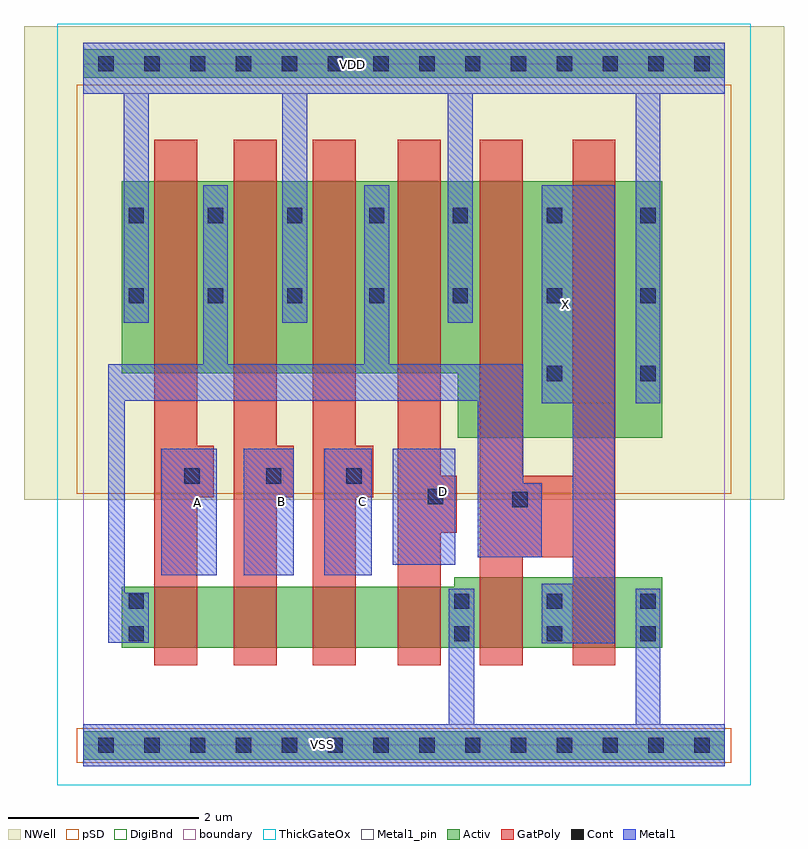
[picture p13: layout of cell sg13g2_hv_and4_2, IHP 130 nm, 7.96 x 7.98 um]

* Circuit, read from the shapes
.subckt sg13g2_hv_and4_2 A B C D VDD VSS X
XM1 n1 A n2 VSS sg13_hv_nmos w=0.64u l=0.45u
XM2 n3 B n1 VSS sg13_hv_nmos w=0.64u l=0.45u
XM3 n4 C n3 VSS sg13_hv_nmos w=0.64u l=0.45u
XM4 VSS D n4 VSS sg13_hv_nmos w=0.64u l=0.45u
XM5 X n2 VSS VSS sg13_hv_nmos w=0.74u l=0.45u m=2
XM6 n2 A VDD VDD sg13_hv_pmos w=2.015u l=0.45u
XM7 VDD B n2 VDD sg13_hv_pmos w=2.015u l=0.45u
XM8 n2 C VDD VDD sg13_hv_pmos w=2.015u l=0.45u
XM9 VDD D n2 VDD sg13_hv_pmos w=2.015u l=0.45u
XM10 X n2 VDD VDD sg13_hv_pmos w=2.69u l=0.45u m=2
.ends

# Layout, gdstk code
import gdstk
lib = gdstk.Library(unit=1e-6, precision=1e-09)
def R(c, l, rs):  # rectangles x0, y0, x1, y1
    for r in rs: c.add(gdstk.rectangle(r[:2], r[2:], *l))
def A(c, l, x, y, w, h, nx, ny, dx, dy):  # array of equal rectangles
    R(c, l, [(x+i*dx, y+j*dy, x+i*dx+w, y+j*dy+h) for i in range(nx) for j in range(ny)])
def P(c, l, *ps):  # polygons
    for p in ps: c.add(gdstk.Polygon(p, *l))
Activ = (1, 0)
GatPoly = (5, 0)
Cont = (6, 0)
Metal1 = (8, 0)
Metal1_pin = (8, 2)
pSD = (14, 0)
DigiBnd = (16, 0)
NWell = (31, 0)
ThickGateOx = (44, 0)
boundary = (189, 4)

sg13g2_hv_and4_2 = lib.new_cell('sg13g2_hv_and4_2')
R(sg13g2_hv_and4_2, Activ, [(0,-0.15,6.72,0.15), (0,6.99,6.72,7.29)])
P(sg13g2_hv_and4_2, Activ, [(0.405,1.02),(0.405,1.66),(3.885,1.66),(3.885,1.76),(6.065,1.76),(6.065,1.02)],
  [(3.925,3.22),(3.925,3.895),(0.405,3.895),(0.405,5.91),(6.065,5.91),(6.065,3.22)])
P(sg13g2_hv_and4_2, GatPoly, [(0.745,0.84),(0.745,6.345),(1.195,6.345),(1.195,3.14),(1.365,3.14),(1.365,2.6),(1.195,2.6),(1.195,0.84)],
  [(1.575,0.84),(1.575,6.345),(2.025,6.345),(2.025,3.14),(2.205,3.14),(2.205,2.6),(2.025,2.6),(2.025,0.84)],
  [(2.405,0.84),(2.405,6.345),(2.855,6.345),(2.855,3.14),(3.04,3.14),(3.04,2.6),(2.855,2.6),(2.855,0.84)],
  [(3.295,0.84),(3.295,6.345),(3.745,6.345),(3.745,2.825),(3.915,2.825),(3.915,2.225),(3.745,2.225),(3.745,0.84)],
  [(4.155,0.84),(4.155,6.345),(4.605,6.345),(4.605,2.825),(5.125,2.825),(5.125,6.345),(5.575,6.345),(5.575,0.84),(5.125,0.84),(5.125,1.97),(4.605,1.97),(4.605,0.84)])
A(sg13g2_hv_and4_2, Cont, 0.16, -0.08, 0.16, 0.16, 14, 2, 0.48, 7.14)
A(sg13g2_hv_and4_2, Cont, 0.475, 4.63, 0.16, 0.16, 3, 2, 0.83, 0.84)
R(sg13g2_hv_and4_2, Cont, [(0.475,1.09,0.635,1.25), (3.885,1.09,4.045,1.25), (4.855,1.09,5.015,1.25), (5.835,1.09,5.995,1.25), (0.475,1.43,0.635,1.59), (3.885,1.43,4.045,1.59), (4.855,1.43,5.015,1.59), (5.835,1.43,5.995,1.59), (4.495,2.495,4.655,2.655), (3.61,2.525,3.77,2.685), (1.06,2.74,1.22,2.9), (1.915,2.74,2.075,2.9), (2.755,2.74,2.915,2.9), (4.855,3.815,5.015,3.975), (5.835,3.815,5.995,3.975), (2.995,4.63,3.155,4.79), (3.87,4.63,4.03,4.79), (4.855,4.63,5.015,4.79), (5.835,4.63,5.995,4.79), (2.995,5.47,3.155,5.63), (3.87,5.47,4.03,5.63), (4.855,5.47,5.015,5.63), (5.835,5.47,5.995,5.63)])
R(sg13g2_hv_and4_2, Metal1, [(0.815,1.78,1.4,3.105), (1.68,1.78,2.205,3.105), (2.525,1.78,3.02,3.105), (3.24,1.89,3.895,3.105)])
P(sg13g2_hv_and4_2, Metal1, [(0,-0.22),(0,0.22),(3.83,0.22),(3.83,1.64),(4.095,1.64),(4.095,0.22),(5.785,0.22),(5.785,1.64),(6.045,1.64),(6.045,0.22),(6.72,0.22),(6.72,-0.22)],
  [(0.265,1.075),(0.265,3.99),(1.255,3.99),(1.255,5.865),(1.515,5.865),(1.515,3.99),(2.945,3.99),(2.945,5.865),(3.205,5.865),(3.205,3.99),(4.61,3.99),(4.61,2.745),(4.805,2.745),(4.805,1.97),(4.13,1.97),(4.13,3.61),(0.435,3.61),(0.435,1.6),(0.685,1.6),(0.685,1.075)],
  [(4.805,1.07),(4.805,1.69),(5.125,1.69),(5.125,3.585),(4.805,3.585),(4.805,5.865),(5.565,5.865),(5.565,1.07)],
  [(5.785,3.585),(5.785,6.825),(4.08,6.825),(4.08,4.425),(3.82,4.425),(3.82,6.825),(2.345,6.825),(2.345,4.425),(2.085,4.425),(2.085,6.825),(0.685,6.825),(0.685,4.425),(0.425,4.425),(0.425,6.825),(0,6.825),(0,7.36),(6.72,7.36),(6.72,6.825),(6.045,6.825),(6.045,3.585)])
R(sg13g2_hv_and4_2, Metal1_pin, [(0,-0.22,6.72,0.22), (0.815,1.78,1.4,3.105), (1.68,1.78,2.205,3.105), (2.525,1.78,3.02,3.105), (3.24,1.89,3.895,3.105), (4.805,3.585,5.565,5.865), (0,6.825,6.72,7.36)])
R(sg13g2_hv_and4_2, pSD, [(-0.07,-0.18,6.79,0.18), (-0.07,2.635,6.79,6.92)])
R(sg13g2_hv_and4_2, DigiBnd, [(0,0,6.72,7.14)])
R(sg13g2_hv_and4_2, NWell, [(-0.62,2.57,7.34,7.53)])
R(sg13g2_hv_and4_2, ThickGateOx, [(-0.27,-0.42,6.99,7.56)])
R(sg13g2_hv_and4_2, boundary, [(0,0,6.72,7.14)])
sg13g2_hv_and4_2.add(gdstk.Label('X', (5.05,4.615), layer=8, texttype=25))
sg13g2_hv_and4_2.add(gdstk.Label('B', (2.08,2.555), layer=8, texttype=25))
sg13g2_hv_and4_2.add(gdstk.Label('A', (1.195,2.54), layer=8, texttype=25))
sg13g2_hv_and4_2.add(gdstk.Label('VDD', (2.82,7.13), layer=8, texttype=25))
sg13g2_hv_and4_2.add(gdstk.Label('VSS', (2.51,0.01), layer=8, texttype=25))
sg13g2_hv_and4_2.add(gdstk.Label('C', (2.925,2.555), layer=8, texttype=25))
sg13g2_hv_and4_2.add(gdstk.Label('D', (3.77,2.66), layer=8, texttype=25))

lib.write_gds('sg13g2_hv_and4_2.gds')
